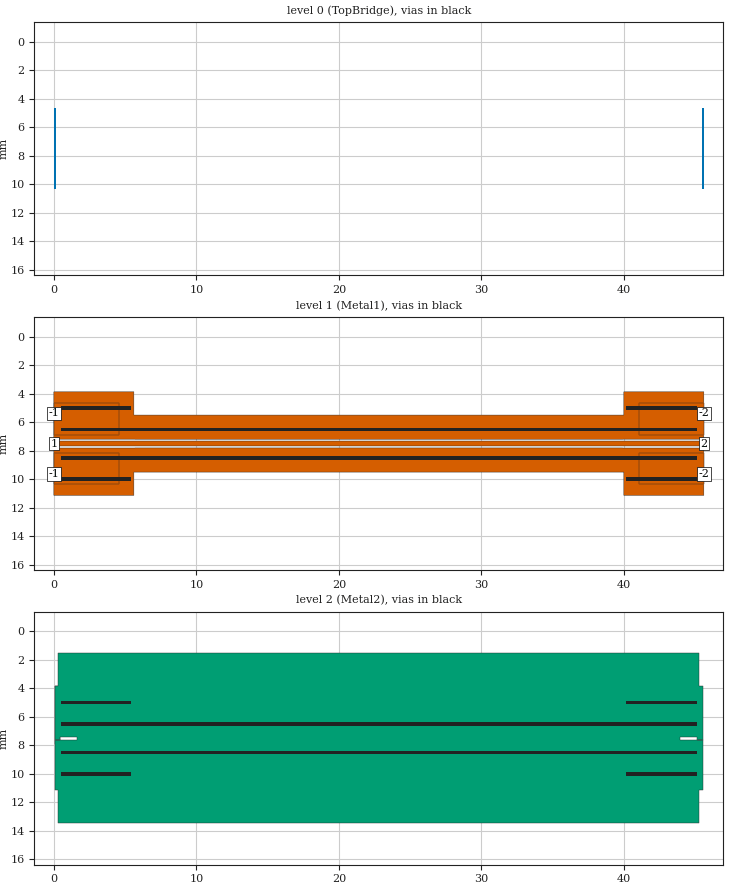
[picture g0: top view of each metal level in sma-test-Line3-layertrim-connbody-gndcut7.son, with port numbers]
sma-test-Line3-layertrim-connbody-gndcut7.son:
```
FTYP SONPROJ 19 ! Sonnet Project File
VER 18.01
HEADER
LIC antikernel2.1.51012 90e2ba8817c1 havequick azonenberg Level3Gold
DAT 08/19/2021 00:00:24
BUILT_BY_CREATED dxf 17.52.2 05/01/2020 05:35:06
BUILT_BY_SAVED sonnet 18.01
MDATE 08/19/2021 00:00:24
HDATE 08/19/2021 00:00:24
ANN Created by dxfgeo, Sonnet Software Inc.
END HEADER
DIM
ANG DEG
CAP PF
CON /OH
FREQ GHZ
IND NH
LNG MM
RES OH
END DIM
CONTROL
VARSWP
OPTIONS  -dj
SPEED 1
CACHE_ABS 1
Q_ACC N
END CONTROL
GEO
SYM
DRP1 LEFT NONE 10
DRP1 RIGHT NONE 10
TMET "Free Space" 0 FREESPACE 376.7303136 0 0 0
BMET "Free Space" 0 FREESPACE 376.7303136 0 0 0
MET "Copper 1oz thick" 2 TMM 58000000 0.5 0.035 2
MET "Nickel " 3 TMM 14300000 0.5 3.5e-05 2
MET "Copper 0.5oz" 1 NOR 58000000 0.5 0.0175 
MET "Unknown_metal" 1 NOR INF 0.5 0 
MET "Copper 0.25mm thick" 4 TMM 58000000 0.5 0.25 2
MET "Brass 0.8mm" 11 TMM 15700000 0.5 0.8 2
MET "Unknown_metal" 1 VOL INF 0
BRI "Alumina (96%)" 0 9.4 0.0004 0 
BRI "Alumina (99.5%)" 0 9.9 0.0001 0 
BRI "Aluminum Nitride" 0 8.6 0.0003 0 
BRI "Arlon 25FR" 0 3.58 0.0035 0 
BRI "Arlon 25N" 0 3.38 0.0025 0 
BRI "Arlon AD5" 0 5.1 0.003 0 
BRI "Arlon AD10" 0 10.2 0.005 0 
BRI "Arlon AD250" 0 2.5 0.0018 0 
BRI "Arlon AD255A" 0 2.55 0.0015 0 
BRI "Arlon AD260A" 0 2.6 0.0018 0 
BRI "Arlon AD270" 0 2.7 0.0023 0 
BRI "Arlon AD300A" 0 3 0.002 0 
BRI "Arlon AD320A" 0 3.2 0.0032 0 
BRI "Arlon AD350A" 0 3.5 0.003 0 
BRI "Arlon AD410" 0 4.1 0.003 0 
BRI "Arlon AD430" 0 4.3 0.003 0 
BRI "Arlon AD450" 0 4.5 0.0035 0 
BRI "Arlon AD600" 0 6.15 0.003 0 
BRI "Arlon AD1000" 0 10.2 0.0023 0 
BRI "Arlon AR1000" 0 9.8 0.003 0 
BRI "Arlon CLTE" 0 2.96 0.0023 0 
BRI "Arlon CLTE-AT" 0 3 0.0013 0 
BRI "Arlon CLTE-P" 0 2.94 0.0025 0 
BRI "Arlon CLTE-XT" 0 2.94 0.0012 0 
BRI "Arlon Cu 217LX" 0 2.17 0.0009 0 
BRI "Arlon Cu 233LX" 0 2.33 0.0013 0 
BRI "Arlon Cu 250GT" 0 2.5 0.001 0 
BRI "Arlon Cu 250GX" 0 2.5 0.0018 0 
BRI "Arlon Cu 6250" 0 2.32 0.0013 0 
BRI "Arlon Cu 6700" 0 2.35 0.0025 0 
BRI "Arlon Di 522" 0 2.5 0.001 0 
BRI "Arlon Di 527" 0 2.5 0.0018 0 
BRI "Arlon Di 870" 0 2.33 0.0013 0 
BRI "Arlon Di 880" 0 2.17 0.0009 0 
BRI "Arlon Iso 917" 0 2.17 0.0013 0 
BRI "Arlon Iso 933" 0 2.33 0.0016 0 
BRI "Arlon Multi HF" 0 3.7 0.004 0 
BRI "Arlon TC350" 0 3.5 0.002 0 
BRI "Arlon TC600" 0 6.15 0.002 0 
BRI "Beryllia (99.5%)" 0 6.5 0.0004 0 
BRI "CEM-1" 0 4.5 0.02 0 
BRI "CEM-3" 0 4.5 0.02 0 
BRI "Dupont 9K7" 0 7.1 0.0012 0 
BRI "Dupont 943" 0 7.4 0.002 0 
BRI "Dupont 951" 0 7.8 0.006 0 
BRI "Dupont FEP" 0 2 0.0005 0 
BRI "Dupont Vacrel" 0 3.8 0.011 0 
BRI "ESL 41010" 0 7.5 0.005 0 
BRI "ESL 41020" 0 7.25 0.005 0 
BRI "ESL 41050" 0 13.5 0.002 0 
BRI "ESL 41060" 0 16.5 0.002 0 
BRI "ESL 41110" 0 4.5 0.004 0 
BRI "Ferro A6M" 0 5.9 0.002 0 
BRI "Ferro A6S" 0 5.9 0.002 0 
BRI "Ferro L8" 0 7.3 0.0018 0 
BRI "FR-4" 0 4.4 0.02 0 
BRI "G-10" 0 4.8 0.025 0 
BRI "Gallium Arsenide" 0 12.9 0.006 0 
BRI "Gallium Nitride" 0 9.7 0 0 
BRI "Glass (Pyrex)" 0 4.82 0.0054 0 
BRI "Heraeus HL2000" 0 7.3 0.0026 0 
BRI "Isola 370HR" 0 4.04 0.021 0 
BRI "Isola FR408" 0 3.77 0.0116 0 
BRI "Isola FR408HR" 0 3.68 0.0092 0 
BRI "Isola Getek" 0 3.6 0.01 0 
BRI "Isola GI-180" 0 3.7 0.013 0 
BRI "Isola IS415" 0 3.82 0.0125 0 
BRI "Isola IS620i" 0 3.58 0.006 0 
BRI "Isola IS680-280" 0 2.8 0.0025 0 
BRI "Isola IS680-300" 0 3 0.003 0 
BRI "Isola IS680-320" 0 3.2 0.003 0 
BRI "Isola IS680-333" 0 3.33 0.003 0 
BRI "Isola IS680-338" 0 3.38 0.0032 0 
BRI "Isola IS680-345" 0 3.45 0.0036 0 
BRI "Kerafol CT800" 0 5.3 0.008 0 
BRI "Nelco MW9350" 0 3.7 0.004 0 
BRI "Nelco N4000-12" 0 3.7 0.008 0 
BRI "Nelco N4000-13" 0 3.7 0.009 0 
BRI "Nelco N4000-13SI" 0 3.2 0.007 0 
BRI "Nelco N4000-13EP" 0 3.7 0.008 0 
BRI "Nelco N4350-13RF" 0 3.5 0.0065 0 
BRI "Nelco N4380-13RF" 0 3.8 0.007 0 
BRI "Nelco N9300-13RF" 0 3 0.004 0 
BRI "Nelco N9320-13RF" 0 3.2 0.0045 0 
BRI "Nelco N9338-13RF" 0 3.38 0.0046 0 
BRI "Nelco N9350-13RF" 0 3.48 0.0055 0 
BRI "Nelco NH9294" 0 2.94 0.0022 0 
BRI "Nelco NH9300" 0 3 0.0023 0 
BRI "Nelco NH9320" 0 3.2 0.0024 0 
BRI "Nelco NH9338" 0 3.38 0.0025 0 
BRI "Nelco NH9348" 0 3.48 0.003 0 
BRI "Nelco NH9350" 0 3.5 0.003 0 
BRI "Nelco NH9410" 0 4.1 0.003 0 
BRI "Nelco NH9450" 0 4.5 0.003 0 
BRI "Nelco NX9240" 0 2.4 0.0016 0 
BRI "Nelco NX9245" 0 2.45 0.0016 0 
BRI "Nelco NX9250" 0 2.5 0.0017 0 
BRI "Nelco NX9255" 0 2.55 0.0018 0 
BRI "Nelco NX9260" 0 2.6 0.0019 0 
BRI "Nelco NY9208" 0 2.08 0.0006 0 
BRI "Nelco NY9217" 0 2.17 0.0008 0 
BRI "Nelco NY9220" 0 2.2 0.0009 0 
BRI "Nelco NY9233" 0 2.33 0.0011 0 
BRI "PET" 0 3.37 0.0208 0 
BRI "Polyimide" 0 3.5 0.003 0 
BRI "Quartz (Fused)" 0 3.78 0.0001 0 
BRI "Rogers 3001" 0 2.28 0.003 0 
BRI "Rogers RO2808" 0 7.6 0.0015 0 
BRI "Rogers RO3003" 0 3 0.0013 0 
BRI "Rogers RO3006" 0 6.5 0.002 0 
BRI "Rogers RO3010" 0 11.2 0.0022 0 
BRI "Rogers RO3035" 0 3.6 0.0018 0 
BRI "Rogers RO3203" 0 3.02 0.0016 0 
BRI "Rogers RO3206" 0 6.6 0.0027 0 
BRI "Rogers RO3210" 0 10.8 0.0027 0 
BRI "Rogers RO3730" 0 3 0.0016 0 
BRI "Rogers RO4003C" 0 3.55 0.0029 0 
BRI "Rogers RO4533" 0 3.45 0.0029 0 
BRI "Rogers RO4534" 0 3.4 0.003 0 
BRI "Rogers RO4350B" 0 3.66 0.0037 0 
BRI "Rogers RO4350BTX" 0 3.66 0.0034 0 
BRI "Rogers RO4360" 0 6.15 0.0038 0 
BRI "Rogers RO4450B-3.6" 0 3.3 0.0043 0 
BRI "Rogers RO4450B-4" 0 3.54 0.004 0 
BRI "Rogers RO4450F" 0 3.52 0.0041 0 
BRI "Rogers RO4730" 0 3 0.0033 0 
BRI "Rogers RT5870" 0 2.33 0.0012 0 
BRI "Rogers RT5880" 0 2.2 0.0009 0 
BRI "Rogers RT5880LZ" 0 1.96 0.0019 0 
BRI "Rogers RT6002" 0 2.94 0.0012 0 
BRI "Rogers RT6006" 0 6.15 0.0027 0 
BRI "Rogers RT6010LM" 0 10.9 0.0023 0 
BRI "Rogers RT6035HTC" 0 3.6 0.0013 0 
BRI "Rogers RT6202" 0 2.94 0.0015 0 
BRI "Rogers RT6202PR" 0 2.95 0.0015 0 
BRI "Rogers Syron7000" 0 3.4 0.0045 0 
BRI "Rogers Syron7100-2" 0 3.61 0.006 0 
BRI "Rogers Syron7100-4" 0 3.39 0.005 0 
BRI "Rogers Theta" 0 4.01 0.0118 0 
BRI "Rogers TMM 3" 0 3.39 0.002 0 
BRI "Rogers TMM 4" 0 4.5 0.002 0 
BRI "Rogers TMM 6" 0 6 0.0023 0 
BRI "Rogers TMM 10" 0 9.56 0.0022 0 
BRI "Rogers TMM 10i" 0 9.96 0.002 0 
BRI "Rogers UL2000" 0 2.5 0.0019 0 
BRI "Rogers UL3850" 0 3.05 0.0025 0 
BRI "Rogers UL3908" 0 2.9 0.0025 0 
BRI "Rogers XT8000" 0 3.34 0.0035 0 
BRI "Rogers XT8100-2" 0 3.54 0.0049 0 
BRI "Rogers XT8100-4" 0 3.32 0.0038 0 
BRI "Silicon (intrinsic)" 0 11.9 0.004 0.00044 
BRI "Silicon Dioxide" 0 3.9 0 0 
BRI "Silicon Nitride" 0 7.5 0 0 
BRI "Taconic CER-10" 0 10 0.0035 0 
BRI "Taconic FastFilm" 0 2.7 0.0012 0 
BRI "Taconic Fastrise-DS" 0 2.96 0.0018 0 
BRI "Taconic Fastrise27" 0 2.7 0.0014 0 
BRI "Taconic Fastrise77" 0 7.7 0.0034 0 
BRI "Taconic FEP" 0 2 0.0003 0 
BRI "Taconic RF-30" 0 3 0.0014 0 
BRI "Taconic RF-35" 0 3.5 0.0018 0 
BRI "Taconic RF-35A2" 0 3.5 0.0011 0 
BRI "Taconic RF-35P" 0 3.5 0.0025 0 
BRI "Taconic RF-41" 0 4.1 0.0038 0 
BRI "Taconic RF-43" 0 4.3 0.0033 0 
BRI "Taconic RF-45" 0 4.5 0.0037 0 
BRI "Taconic RF-60A" 0 6.15 0.0038 0 
BRI "Taconic RF-301" 0 2.97 0.0012 0 
BRI "Taconic TacBond HT" 0 2.35 0.0025 0 
BRI "Taconic TLA-6" 0 2.62 0.0012 0 
BRI "Taconic TLC-27" 0 2.75 0.003 0 
BRI "Taconic TLC-30" 0 3 0.003 0 
BRI "Taconic TLC-32" 0 3.2 0.003 0 
BRI "Taconic TLE-95" 0 2.95 0.0028 0 
BRI "Taconic TLF-34" 0 3.4 0.002 0 
BRI "Taconic TLF-35" 0 3.5 0.002 0 
BRI "Taconic TLP-3" 0 2.33 0.0009 0 
BRI "Taconic TLP-5" 0 2.2 0.0009 0 
BRI "Taconic TLP-5A" 0 2.17 0.0009 0 
BRI "Taconic TLT-0" 0 2.45 0.0006 0 
BRI "Taconic TLT-9" 0 2.5 0.0006 0 
BRI "Taconic TLT-8" 0 2.55 0.0006 0 
BRI "Taconic TLT-7" 0 2.6 0.0006 0 
BRI "Taconic TLT-6" 0 2.65 0.0006 0 
BRI "Taconic TLX-0" 0 2.45 0.0019 0 
BRI "Taconic TLX-9" 0 2.5 0.0019 0 
BRI "Taconic TLX-8" 0 2.55 0.0019 0 
BRI "Taconic TLX-7" 0 2.6 0.0019 0 
BRI "Taconic TLX-6" 0 2.65 0.0019 0 
BRI "Taconic TLY-3" 0 2.33 0.0009 0 
BRI "Taconic TLY-3F" 0 2.33 0.0009 0 
BRI "Taconic TLY-5" 0 2.2 0.0009 0 
BRI "Taconic TLY-5-L" 0 2.2 0.0009 0 
BRI "Taconic TLY-5A" 0 2.17 0.0009 0 
BRI "Taconic TLY-5A-L" 0 2.17 0.0009 0 
BRI "Taconic TPG-30" 0 3 0.0038 0 
BRI "Taconic TPG-32" 0 3.2 0.005 0 
BRI "Taconic TPG-35" 0 3.5 0.005 0 
BRI "Taconic TRF-41" 0 4.1 0.0035 0 
BRI "Taconic TRF-43" 0 4.3 0.0035 0 
BRI "Taconic TRF-45" 0 4.5 0.0035 0 
BRI "Taconic TSM-DS" 0 2.85 0.001 0 
BRI "Taconic TSM-DS3" 0 3 0.0011 0 
BRI "Taconic TSM-26" 0 2.6 0.0014 0 
BRI "Taconic TSM-29" 0 2.94 0.0013 0 
BRI "Taconic TSM-30" 0 3 0.0013 0 
BRI "Teflon (PTFE)" 0 2.08 0.0004 0 
BOX 3 45.6 15 1824 3000 20 0
      10 1 1 0 0 0 0 "Air"
      0.8 1 1 0 0 0 0 "Air"
      0.166 3.6 1 0.0092 0 0 0 "Isola FR408HR"
      10 1 1 0 0 0 0 "Air"
TECHLAY METAL TopBridge <UNSPECIFIED> -7 -65534 
0 0 2 N 2097 1 1 100 100 0 0 0 Y
END
END
TECHLAY VIA Via2 <UNSPECIFIED> -8 -65534 
VIA POLYGON
0 0 -1 N 2099 1 1 100 100 0 0 0 Y
TOLEVEL 1 RING NOCOVERS
END
END
TECHLAY METAL Metal1 BLACK -2 -65534 
1 0 0 N 2102 1 1 100 100 0 0 0 Y
END
END
TECHLAY METAL CenterPin <UNSPECIFIED> -5 -65534 
1 0 4 N 2110 1 1 100 100 0 0 0 Y
END
END
TECHLAY METAL ConnBody <UNSPECIFIED> -6 -65534 
1 0 5 N 2112 1 1 100 100 0 0 0 Y
END
END
TECHLAY METAL Metal2 BLACK -3 -65534 
2 0 2 N 2115 1 1 100 100 0 0 0 Y
END
END
TECHLAY VIA Via1 <UNSPECIFIED> -4 -65534 
VIA POLYGON
2 0 -1 N 2117 1 1 100 100 0 0 0 Y
TOLEVEL 1 RING NOCOVERS
END
END
VALVAR BOTLEN LNG 2 "Dim. Param."
VALVAR TOPLEN LNG 3 "Dim. Param."
DIM STD XDIR 1
POS 0.1287407935 -0.09475026035
NOM 0.125
REF1 POLY 1274 1
0
REF2 POLY 1274 1
1
END
DIM STD YDIR 1
POS -1.48380781 8.114546708
NOM 11.95
REF1 POLY 2193 1
15
REF2 POLY 2193 1
28
END
DIM STD XDIR 1
POS 1.353274859 -0.08058315952
NOM 1.65
REF1 POLY 1236 1
0
REF2 POLY 1236 1
1
END
DIM STD YDIR -1
POS -0.06915206507 -0.2024361302
NOM 0.25
REF1 POLY 1236 1
3
REF2 POLY 1236 1
0
END
DIM STD XDIR 1
POS 4.710339183 -0.148846506
NOM 4.55
REF1 POLY 1247 1
0
REF2 POLY 1247 1
1
END
DIM STD XDIR -1
POS -0.1287407935 -0.09475026035
NOM 0.125
REF1 POLY 2161 1
0
REF2 POLY 2161 1
1
END
DIM STD XDIR -1
POS -1.353274859 -0.08058315952
NOM 1.65
REF1 POLY 2155 1
0
REF2 POLY 2155 1
1
END
DIM STD YDIR -1
POS -0.5706571017 -2.312418435
NOM 2.2
REF1 POLY 2186 1
14
REF2 POLY 1247 1
0
END
DIM STD YDIR -1
POS -0.08394937587 -0.1206789329
NOM 0.505
REF1 POLY 1236 1
0
REF2 POLY 2186 1
14
END
DIM STD YDIR -1
POS 0.06915206507 -0.2024361302
NOM 0.25
REF1 POLY 2155 1
3
REF2 POLY 2155 1
0
END
DIM STD YDIR 1
POS -0.07482444371 0.2078417661
NOM 0.505
REF1 POLY 1236 1
3
REF2 POLY 2185 1
15
END
DIM STD XDIR 1
POS 4.710339183 -0.148846506
NOM 4.55
REF1 POLY 2185 1
15
REF2 POLY 1252 1
1
END
DIM STD XDIR -1
POS -4.710339183 -0.148846506
NOM 4.55
REF1 POLY 2158 1
0
REF2 POLY 2158 1
1
END
DIM STD YDIR -1
POS -0.5706571017 -2.312418435
NOM 2.2
REF1 POLY 1252 1
3
REF2 POLY 2185 1
15
END
DIM STD YDIR 1
POS -0.240898209 0.3525940726
NOM 1.26
REF1 POLY 2186 1
14
REF2 POLY 2185 1
15
END
DIM STD YDIR -1
POS 0.5706571017 -2.312418435
NOM 2.2
REF1 POLY 2186 1
5
REF2 POLY 2158 1
0
END
DIM STD YDIR -1
POS 0.08394937587 -0.1206789329
NOM 0.505
REF1 POLY 2155 1
0
REF2 POLY 2186 1
5
END
DIM STD YDIR 1
POS 0.07482444371 0.2078417661
NOM 0.505
REF1 POLY 2155 1
3
REF2 POLY 2185 1
0
END
DIM STD YDIR -1
POS 0.5706571017 -2.312418435
NOM 2.2
REF1 POLY 2154 1
3
REF2 POLY 2185 1
0
END
DIM STD YDIR 1
POS 1.48380781 8.114546708
NOM 11.95
REF1 POLY 2193 1
12
REF2 POLY 2193 1
31
END
DIM STD XDIR -1
POS -4.710339183 -0.148846506
NOM 4.55
REF1 POLY 2185 1
0
REF2 POLY 2154 1
1
END
DIM STD YDIR 1
POS 0.240898209 0.3525940726
NOM 1.26
REF1 POLY 2186 1
5
REF2 POLY 2185 1
0
END
LORGN 0 15 U 
POR1 BOX
POLY 2184 1
9
1 50 0 0 0 0 7.495 
POR1 BOX
POLY 2184 1
1
2 50 0 0 0 45.6 7.495 
POR1 BOX
POLY 2185 1
15
-1 50 0 0 0 0 9.63 
POR1 BOX
POLY 2185 1
23
-2 50 0 0 0 45.6 9.63 
POR1 BOX
POLY 2186 1
5
-2 50 0 0 0 45.6 5.37 
POR1 BOX
POLY 2186 1
13
-1 50 0 0 0 0 5.37 
NUM 23
0 5 2 N 1274 1 1 100 100 0 0 0 Y
TLAYNAM TopBridge INH
0 4.67
0.125 4.67
0.125 10.325
0 10.325
0 4.67
END
0 5 2 N 2161 1 1 100 100 0 0 0 Y
TLAYNAM TopBridge INH
45.6 4.67
45.475 4.67
45.475 10.325
45.6 10.325
45.6 4.67
END
VIA POLYGON
0 5 -1 N 1292 1 1 100 100 0 0 0 Y
TOLEVEL 1 RING NOCOVERS
TLAYNAM Via2 INH
0.05 4.71
0.075 4.71
0.075 6.83
0.05 6.83
0.05 4.71
END
VIA POLYGON
0 5 -1 N 1293 1 1 100 100 0 0 0 Y
TOLEVEL 1 RING NOCOVERS
TLAYNAM Via2 INH
0.05 10.29
0.075 10.29
0.075 8.17
0.05 8.17
0.05 10.29
END
VIA POLYGON
0 5 -1 N 2153 1 1 100 100 0 0 0 Y
TOLEVEL 1 RING NOCOVERS
TLAYNAM Via2 INH
45.55 4.71
45.525 4.71
45.525 6.83
45.55 6.83
45.55 4.71
END
VIA POLYGON
0 5 -1 N 2157 1 1 100 100 0 0 0 Y
TOLEVEL 1 RING NOCOVERS
TLAYNAM Via2 INH
45.55 10.29
45.525 10.29
45.525 8.17
45.55 8.17
45.55 10.29
END
1 17 0 N 2184 1 1 100 100 0 0 0 Y
TLAYNAM Metal1 INH
USER_DAT FromImport
39 7.65
45.6 7.65
45.6 7.34
39.9875 7.34
39.9875 7.345
23.15 7.345
23.15 7.345
5.6125 7.345
5.6125 7.34
0 7.34
0 7.65
6.6 7.65
6.6 7.655
22.95 7.655
22.95 7.655
39 7.655
39 7.65
END
1 25 0 N 2185 1 1 100 100 0 0 0 Y
TLAYNAM Metal1 INH
45.6 8.13
45.6 7.81
39.921835 7.81
39.9195 7.809
39.9125 7.807
39.9045 7.806
39.8975 7.805
23.65 7.805
23.65 7.805
5.7025 7.805
5.6955 7.806
5.6875 7.807
5.6805 7.809
5.678165 7.81
0 7.81
0 8.13
0 11.13
5.6125 11.13
5.6125 9.5
22.95 9.5
22.95 9.5
39.9875 9.5
39.9875 11.13
45.6 11.13
45.6 8.13
END
1 25 0 N 2186 1 1 100 100 0 0 0 Y
TLAYNAM Metal1 INH
39.9045 7.194
39.9125 7.193
39.9195 7.191
39.921835 7.19
45.6 7.19
45.6 6.87
45.6 3.87
39.9875 3.87
39.9875 5.5
23.2 5.5
23.2 5.5
5.6125 5.5
5.6125 3.87
0 3.87
0 6.87
0 7.19
5.678166667 7.19
5.6805 7.191
5.6875 7.193
5.6955 7.194
5.7025 7.195
22.95 7.195
22.95 7.195
39.8975 7.195
39.9045 7.194
END
1 5 4 N 1236 1 1 100 100 0 0 0 Y
TLAYNAM CenterPin INH
-5.551115123e-17 7.375
1.65 7.375
1.65 7.625
-5.551115123e-17 7.625
-5.551115123e-17 7.375
END
1 5 4 N 2155 1 1 100 100 0 0 0 Y
TLAYNAM CenterPin INH
45.6 7.375
43.95 7.375
43.95 7.625
45.6 7.625
45.6 7.375
END
1 5 5 N 1247 1 1 100 100 0 0 0 Y
TLAYNAM ConnBody INH
0 4.67
4.55 4.67
4.55 6.865
0 6.865
0 4.67
END
1 5 5 N 1252 1 1 100 100 0 0 0 Y
TLAYNAM ConnBody INH
0 8.135
4.55 8.135
4.55 10.33
0 10.33
0 8.135
END
1 5 5 N 2154 1 1 100 100 0 0 0 Y
TLAYNAM ConnBody INH
45.6 8.135
41.05 8.135
41.05 10.33
45.6 10.33
45.6 8.135
END
1 5 5 N 2158 1 1 100 100 0 0 0 Y
TLAYNAM ConnBody INH
45.6 4.67
41.05 4.67
41.05 6.865
45.6 6.865
45.6 4.67
END
2 5 2 N 2188 1 1 100 100 0 0 0 Y
TLAYNAM Metal2 INH
0.05 3.84
0.45 3.84
0.45 7.89
0.05 7.89
0.05 3.84
END
2 33 2 N 2193 1 1 100 100 0 0 0 Y
TLAYNAM Metal2 INH
45.2875 11.16
45.55 11.16
45.55 7.62
45.15 7.62
43.95 7.62
43.95 7.38
45.15 7.38
45.15 7.62
45.55 7.62
45.55 7.11
45.55 3.84
45.2875 3.84
45.2875 1.52
23.1 1.52
23.1 1.52
0.3125 1.52
0.3125 3.84
0.05 3.84
0.05 7.11
0.05 7.62
0.45 7.62
0.45 7.38
1.65 7.38
1.65 7.62
0.45 7.62
0.05 7.62
0.05 11.16
0.3125 11.16
0.3125 13.47
22.95 13.47
22.95 13.47
45.2875 13.47
45.2875 11.16
END
VIA POLYGON
2 5 -1 N 981 1 1 100 100 0 0 0 Y
TOLEVEL 1 RING NOCOVERS
TLAYNAM Via1 INH
USER_DAT FromImport
0.5 10.125
0.5 9.875
5.4375 9.875
5.4375 10.125
0.5 10.125
END
VIA POLYGON
2 5 -1 N 944 1 1 100 100 0 0 0 Y
TOLEVEL 1 RING NOCOVERS
TLAYNAM Via1 INH
USER_DAT FromImport
0.5 5.125
0.5 4.875
5.4375 4.875
5.4375 5.125
0.5 5.125
END
VIA POLYGON
2 5 -1 N 2156 1 1 100 100 0 0 0 Y
TOLEVEL 1 RING NOCOVERS
TLAYNAM Via1 INH
USER_DAT FromImport
45.1 10.125
45.1 9.875
40.1625 9.875
40.1625 10.125
45.1 10.125
END
VIA POLYGON
2 5 -1 N 2163 1 1 100 100 0 0 0 Y
TOLEVEL 1 RING NOCOVERS
TLAYNAM Via1 INH
USER_DAT FromImport
45.1 5.125
45.1 4.875
40.1625 4.875
40.1625 5.125
45.1 5.125
END
VIA POLYGON
2 9 -1 N 2182 1 1 100 100 0 0 0 Y
TOLEVEL 1 RING NOCOVERS
TLAYNAM Via1 INH
USER_DAT FromImport
45.1 6.375
23.3 6.375
23.3 6.375
0.5 6.375
0.5 6.625
22.95 6.625
22.95 6.625
45.1 6.625
45.1 6.375
END
VIA POLYGON
2 9 -1 N 2183 1 1 100 100 0 0 0 Y
TOLEVEL 1 RING NOCOVERS
TLAYNAM Via1 INH
USER_DAT FromImport
45.1 8.375
23.6 8.375
23.6 8.375
0.5 8.375
0.5 8.625
22.95 8.625
22.95 8.625
45.1 8.625
45.1 8.375
END
END GEO
OPT
MAX 100
END OPT
VARSWP
ENABLED Y
FREQ Y AN SWEEP 1.0 15.0 1.0
FREQ Y AY ABS_ENTRY 0.01 15.0 -1 300 
END
END VARSWP
3DOPTIONS
GLOBAL 1
ALL 3 1
END 3DOPTIONS
```
